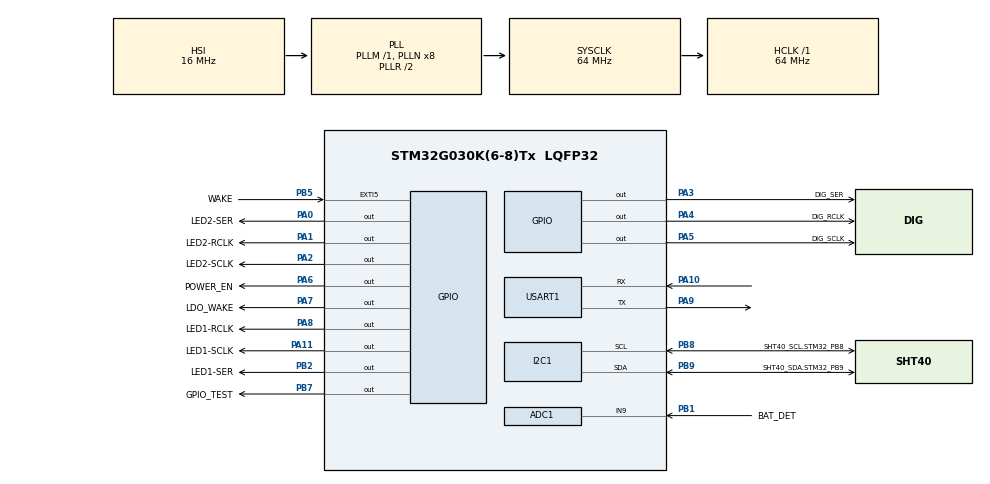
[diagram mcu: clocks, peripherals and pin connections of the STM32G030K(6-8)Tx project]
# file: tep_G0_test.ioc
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ADC1.Channel-0\#ChannelRegularConversion=ADC_CHANNEL_9
ADC1.NbrOfConversionFlag=1
ADC1.Rank-0\#ChannelRegularConversion=1
ADC1.SamplingTime-0\#ChannelRegularConversion=ADC_SAMPLINGTIME_COMMON_1
ADC1.SelectedChannel=ADC_CHANNEL_9
ADC1.master=1
I2C1.Timing=0x10B17DB5
Mcu.Family=STM32G0
Mcu.Name=STM32G030K(6-8)Tx
Mcu.Package=LQFP32
NVIC.EXTI4_15_IRQn=true\:1\:0\:true\:false\:true\:true\:true\:true
NVIC.TIM3_IRQn=true\:0\:0\:false\:false\:true\:true\:true\:true
PA0.GPIO_Label=LED2-SER
PA0.GPIO_Speed=GPIO_SPEED_FREQ_HIGH
PA0.Signal=GPIO_Output
PA1.GPIO_Label=LED2-RCLK
PA1.GPIO_Speed=GPIO_SPEED_FREQ_HIGH
PA1.Signal=GPIO_Output
PA10.Mode=Asynchronous
PA10.Signal=USART1_RX
PA11\ [PA9].GPIO_Label=LED1-SCLK
PA11\ [PA9].GPIO_Speed=GPIO_SPEED_FREQ_HIGH
PA11\ [PA9].Signal=GPIO_Output
PA13.Mode=Serial_Wire
PA13.Signal=SYS_SWDIO
PA14-BOOT0.Mode=Serial_Wire
PA14-BOOT0.Signal=SYS_SWCLK
PA2.GPIO_Label=LED2-SCLK
PA2.GPIO_Speed=GPIO_SPEED_FREQ_HIGH
PA2.Signal=GPIO_Output
PA3.GPIO_Label=DIG_SER
PA3.GPIO_Speed=GPIO_SPEED_FREQ_HIGH
PA3.Signal=GPIO_Output
PA4.GPIO_Label=DIG_RCLK
PA4.GPIO_Speed=GPIO_SPEED_FREQ_HIGH
PA4.Signal=GPIO_Output
PA5.GPIO_Label=DIG_SCLK
PA5.GPIO_Speed=GPIO_SPEED_FREQ_HIGH
PA5.Signal=GPIO_Output
PA6.GPIO_Label=POWER_EN
PA6.GPIO_Speed=GPIO_SPEED_FREQ_LOW
PA6.Signal=GPIO_Output
PA7.GPIO_Label=LDO_WAKE
PA7.Signal=GPIO_Output
PA8.GPIO_Label=LED1-RCLK
PA8.GPIO_Speed=GPIO_SPEED_FREQ_HIGH
PA8.Signal=GPIO_Output
PA9.Mode=Asynchronous
PA9.Signal=USART1_TX
PB1.GPIO_Label=BAT_DET
PB1.Mode=IN9
PB1.Signal=ADC1_IN9
PB2.GPIO_Label=LED1-SER
PB2.GPIO_Speed=GPIO_SPEED_FREQ_HIGH
PB2.Signal=GPIO_Output
PB5.GPIO_Label=WAKE
PB5.GPIO_ModeDefaultEXTI=GPIO_MODE_IT_FALLING
PB5.GPIO_PuPd=GPIO_PULLUP
PB5.Signal=GPXTI5
PB7.GPIO_Label=GPIO_TEST
PB7.GPIO_Speed=GPIO_SPEED_FREQ_MEDIUM
PB7.PinState=GPIO_PIN_SET
PB7.Signal=GPIO_Output
PB8.GPIO_Label=SHT40_SCL.STM32_PB8
PB8.GPIO_Speed=GPIO_SPEED_FREQ_HIGH
PB8.Mode=I2C
PB8.Signal=I2C1_SCL
PB9.GPIO_Label=SHT40_SDA.STM32_PB9
PB9.GPIO_Speed=GPIO_SPEED_FREQ_HIGH
PB9.Mode=I2C
PB9.Signal=I2C1_SDA
PC14-OSC32_IN\ (PC14).Mode=LSE-External-Oscillator
PC14-OSC32_IN\ (PC14).Signal=RCC_OSC32_IN
PC15-OSC32_OUT\ (PC15).Mode=LSE-External-Oscillator
PC15-OSC32_OUT\ (PC15).Signal=RCC_OSC32_OUT
ProjectManager.HeapSize=0x200
ProjectManager.StackSize=0x400
ProjectManager.TargetToolchain=MDK-ARM V5
RCC.ADCFreq_Value=64000000
RCC.AHBFreq_Value=64000000
RCC.CortexFreq_Value=64000000
RCC.EXTERNAL_CLOCK_VALUE=12288000
RCC.HCLKFreq_Value=64000000
RCC.HSE_VALUE=8000000
RCC.HSI_VALUE=16000000
RCC.SYSCLKFreq_VALUE=64000000
RCC.SYSCLKSource=RCC_SYSCLKSOURCE_PLLCLK
RCC.VCOOutputFreq_Value=128000000
TIM3.AutoReloadPreload=TIM_AUTORELOAD_PRELOAD_ENABLE
TIM3.Period=5000-1
TIM3.Prescaler=64000-1
USART1.VirtualMode-Asynchronous=VM_ASYNC
VP_TIM3_VS_ClockSourceINT.Mode=Internal
board=custom

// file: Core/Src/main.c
/* USER CODE BEGIN Header */
/**
 ******************************************************************************
 * @file           : main.c
 * @brief          : Main program body
 ******************************************************************************
 * @attention
 *
 * Copyright (c) 2024 STMicroelectronics.
 * All rights reserved.
 *
 * This software is licensed under terms that can be found in the LICENSE file
 * in the root directory of this software component.
 * If no LICENSE file comes with this software, it is provided AS-IS.
 *
 ******************************************************************************
 */
/* USER CODE END Header */
#include "main.h"
#include "adc.h"
#include "i2c.h"
#include "tim.h"
#include "usart.h"
#include "gpio.h"

/* USER CODE BEGIN PTD */
// double Temperature = 0;
// double Humidity = 0;
// uint8_t writeData[1] = {0xFD};
// uint8_t readData[6] = {0};
uint8_t read_flag = 0;

/* USER CODE END PTD */

/* USER CODE BEGIN PD */
#define SHT40_Write (0x44 << 1)      // 写入地址
#define SHT40_Read ((0x44 << 1) + 1) // 读出地址

/* USER CODE END PD */

void SystemClock_Config(void);

int main(void)
{

  /* USER CODE BEGIN 1 */
  uint16_t num = 0;
  uint8_t writeData[1] = {0xFD};
  uint8_t readData[6] = {0};
  uint16_t Temp = 0, Humi = 0;
  double Temperature = 0;
  double Humidity = 0;

  /* USER CODE END 1 */

  /* MCU Configuration--------------------------------------------------------*/

  /* Reset of all peripherals, Initializes the Flash interface and the Systick. */
  HAL_Init();

  /* Configure the system clock */
  SystemClock_Config();

  /* Initialize all configured peripherals */
  MX_GPIO_Init();
  MX_I2C1_Init();
  MX_USART1_UART_Init();
  MX_ADC1_Init();
  MX_TIM3_Init();
  /* USER CODE BEGIN 2 */
  HAL_Delay(100);
  SN74HC595_Send_Data(SN_DIG, 0x00);
  SN74HC595_Send_Data(SN_LED1, 0x00);
  SN74HC595_Send_Data(SN_LED2, 0x00);

  HAL_Delay(100);
  HAL_I2C_Master_Transmit(&hi2c1, (uint16_t)SHT40_Write, (uint8_t *)writeData, 1, HAL_MAX_DELAY);
  HAL_Delay(10);
  HAL_I2C_Master_Receive(&hi2c1, (uint16_t)SHT40_Read, (uint8_t *)readData, 6, HAL_MAX_DELAY);

  // Temperature = (1.0 * 175 * (readData[0] * 256 + readData[1])) / 65535.0 - 45;
  // Humidity = (1.0 * 125 * (readData[3] * 256 + readData[4])) / 65535.0 - 6.0;

  // Temp = (uint16_t)(Temperature * 10);
  // Humi = (uint16_t)(Humidity * 10);

  HAL_TIM_Base_Start_IT(&htim3);
  /* USER CODE END 2 */

  /* Infinite loop */
  while (1)
  {

    /* USER CODE BEGIN 3 */
    if (read_flag == 1)
    {
      read_flag = 0;
      HAL_Delay(10);
      HAL_I2C_Master_Transmit(&hi2c1, (uint16_t)SHT40_Write, (uint8_t *)writeData, 1, HAL_MAX_DELAY);
      HAL_Delay(10);
      HAL_I2C_Master_Receive(&hi2c1, (uint16_t)SHT40_Read, (uint8_t *)readData, 6, HAL_MAX_DELAY);
      Temperature = (1.0 * 175 * (readData[0] * 256 + readData[1])) / 65535.0 - 45;
      Humidity = (1.0 * 125 * (readData[3] * 256 + readData[4])) / 65535.0 - 6.0;

      Temp = (uint16_t)(Temperature * 10);
      Humi = (uint16_t)(Humidity * 10);
    }

    num++;
    if (num < 100)
    {
      ShowNum(1, 1, Temp / 100);
      ShowNum(1, 2, Temp / 10 % 10);
      ShowNum(1, 3, Temp % 10);
    }
    else if (num < 200)
    {
      ShowNum(2, 1, Humi / 100);
      ShowNum(2, 2, Humi / 10 % 10);
      ShowNum(2, 3, Humi % 10);
    }
    else
    {
      num = 0;
      ShowNum(1, 1, Temp / 100);
      ShowNum(1, 2, Temp / 10 % 10);
      ShowNum(1, 3, Temp % 10);
    }

    // ShowNum(2,1,6);
    // ShowNum(2,2,6);
    // ShowNum(2,3,6);

    // HAL_Delay(500);
    // HAL_GPIO_TogglePin(TEST_LED_GPIO_Port, TEST_LED_Pin);
    // HAL_Delay(100);
    // HAL_GPIO_TogglePin(GPIO_TEST_GPIO_Port, GPIO_TEST_Pin);
  }
  /* USER CODE END 3 */
}

void SystemClock_Config(void)
{
  RCC_OscInitTypeDef RCC_OscInitStruct = {0};
  RCC_ClkInitTypeDef RCC_ClkInitStruct = {0};

  /** Configure the main internal regulator output voltage
  */
  HAL_PWREx_ControlVoltageScaling(PWR_REGULATOR_VOLTAGE_SCALE1);

  /** Initializes the RCC Oscillators according to the specified parameters
  * in the RCC_OscInitTypeDef structure.
  */
  RCC_OscInitStruct.OscillatorType = RCC_OSCILLATORTYPE_HSI;
  RCC_OscInitStruct.HSIState = RCC_HSI_ON;
  RCC_OscInitStruct.HSIDiv = RCC_HSI_DIV1;
  RCC_OscInitStruct.HSICalibrationValue = RCC_HSICALIBRATION_DEFAULT;
  RCC_OscInitStruct.PLL.PLLState = RCC_PLL_ON;
  RCC_OscInitStruct.PLL.PLLSource = RCC_PLLSOURCE_HSI;
  RCC_OscInitStruct.PLL.PLLM = RCC_PLLM_DIV1;
  RCC_OscInitStruct.PLL.PLLN = 8;
  RCC_OscInitStruct.PLL.PLLP = RCC_PLLP_DIV2;
  RCC_OscInitStruct.PLL.PLLR = RCC_PLLR_DIV2;
  if (HAL_RCC_OscConfig(&RCC_OscInitStruct) != HAL_OK)
  {
    Error_Handler();
  }

  /** Initializes the CPU, AHB and APB buses clocks
  */
  RCC_ClkInitStruct.ClockType = RCC_CLOCKTYPE_HCLK|RCC_CLOCKTYPE_SYSCLK
                              |RCC_CLOCKTYPE_PCLK1;
  RCC_ClkInitStruct.SYSCLKSource = RCC_SYSCLKSOURCE_PLLCLK;
  RCC_ClkInitStruct.AHBCLKDivider = RCC_SYSCLK_DIV1;
  RCC_ClkInitStruct.APB1CLKDivider = RCC_HCLK_DIV1;

  if (HAL_RCC_ClockConfig(&RCC_ClkInitStruct, FLASH_LATENCY_2) != HAL_OK)
  {
    Error_Handler();
  }
}

void Error_Handler(void)
{
  __disable_irq();
  while (1)
  {
  }
}
